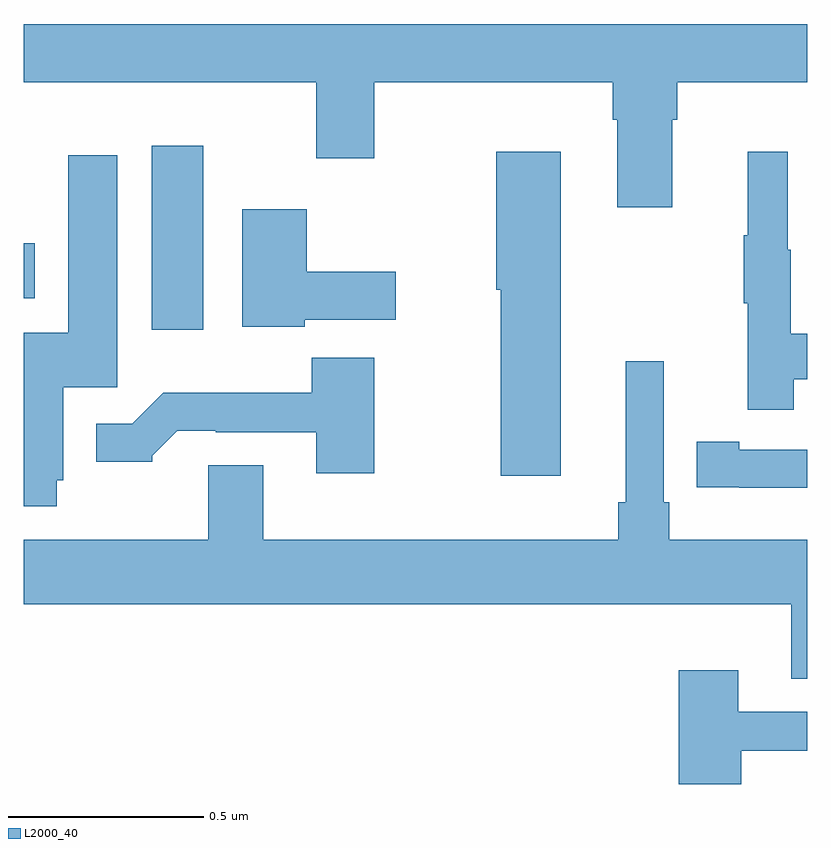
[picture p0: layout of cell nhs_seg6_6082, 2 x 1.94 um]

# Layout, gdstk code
import gdstk
lib = gdstk.Library(unit=1e-6, precision=1e-09)
def R(c, l, rs):  # rectangles x0, y0, x1, y1
    for r in rs: c.add(gdstk.rectangle(r[:2], r[2:], *l))
def P(c, l, *ps):  # polygons
    for p in ps: c.add(gdstk.Polygon(p, *l))
L2000_40 = (2000, 40)

nhs_seg6_6082 = lib.new_cell('nhs_seg6_6082')
R(nhs_seg6_6082, L2000_40, [(191.327,930.72,191.458,931.189), (191,930.8,191.029,930.94)])
P(nhs_seg6_6082, L2000_40, [(191,931.352),(191.747,931.352),(191.747,931.158),(191.895,931.158),(191.895,931.352),(192.503,931.352),(192.503,931.256),(192.515,931.256),(192.515,931.032),(192.655,931.032),(192.655,931.256),(192.668,931.256),(192.668,931.352),(193,931.352),(193,931.5),(191,931.5)],
  [(192.965,930.594),(193,930.594),(193,930.71),(192.958,930.71),(192.958,930.924),(192.95,930.924),(192.95,931.174),(192.848,931.174),(192.848,930.961),(192.837,930.961),(192.837,930.787),(192.848,930.787),(192.848,930.516),(192.965,930.516)],
  [(192.37,931.174),(192.206,931.174),(192.206,930.822),(192.217,930.822),(192.217,930.348),(192.37,930.348)],
  [(191.085,930.336),(191.101,930.336),(191.101,930.573),(191.239,930.573),(191.239,931.165),(191.114,931.165),(191.114,930.712),(191,930.712),(191,930.27),(191.085,930.27)],
  [(191.718,930.746),(191.95,930.746),(191.95,930.868),(191.722,930.868),(191.722,931.027),(191.558,931.027),(191.558,930.728),(191.718,930.728)],
  [(191.895,930.649),(191.735,930.649),(191.735,930.559),(191.356,930.559),(191.277,930.48),(191.186,930.48),(191.186,930.383),(191.328,930.383),(191.328,930.398),(191.392,930.462),(191.491,930.462),(191.491,930.459),(191.747,930.459),(191.747,930.354),(191.895,930.354)],
  [(193,930.184),(192.647,930.184),(192.647,930.28),(192.633,930.28),(192.633,930.64),(192.536,930.64),(192.536,930.28),(192.517,930.28),(192.517,930.184),(191.611,930.184),(191.611,930.374),(191.471,930.374),(191.471,930.184),(191,930.184),(191,930.02),(192.959,930.02),(192.959,929.83),(193,929.83)],
  [(193,930.414),(192.826,930.414),(192.826,930.434),(192.718,930.434),(192.718,930.318),(192.826,930.318),(192.826,930.317),(193,930.317)],
  [(192.831,929.646),(193,929.646),(193,929.745),(192.823,929.745),(192.823,929.851),(192.671,929.851),(192.671,929.561),(192.831,929.561)])

lib.write_gds('nhs_seg6_6082.gds')
